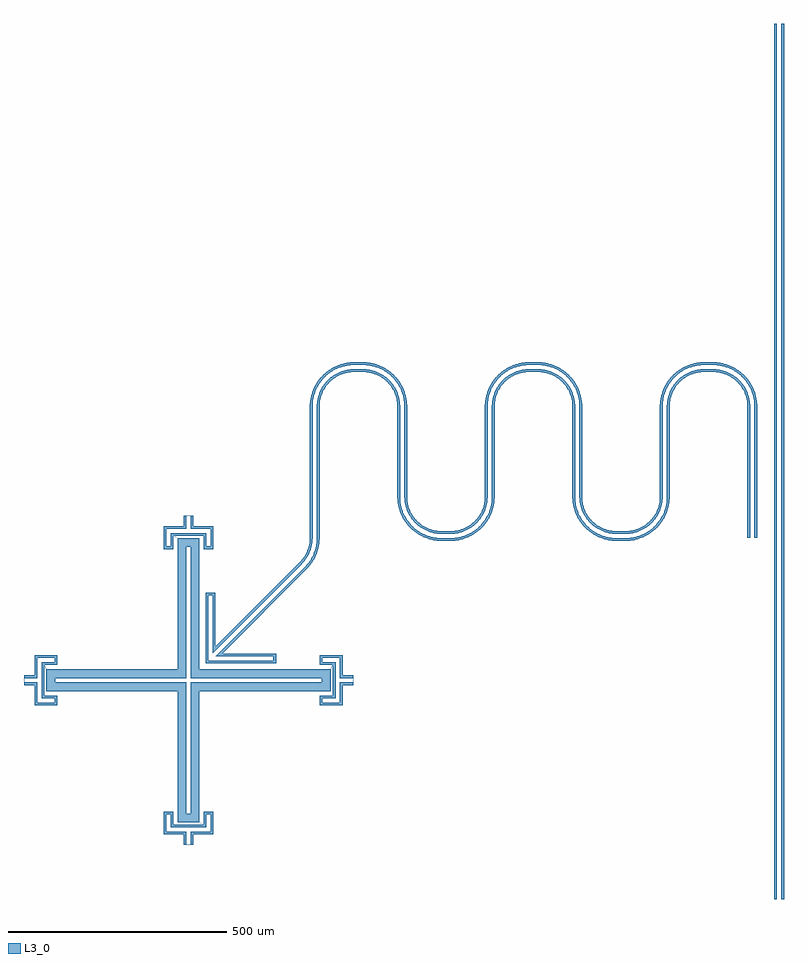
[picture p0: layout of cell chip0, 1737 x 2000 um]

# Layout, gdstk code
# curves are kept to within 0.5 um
import gdstk
lib = gdstk.Library(unit=1e-6, precision=1e-09)
def R(c, l, rs):  # rectangles x0, y0, x1, y1
    for r in rs: c.add(gdstk.rectangle(r[:2], r[2:], *l))
def P(c, l, *ps):  # polygons
    for p in ps: c.add(gdstk.Polygon(p, *l))
L3_0 = (3, 0)

chip0 = lib.new_cell('chip0')
R(chip0, L3_0, [(1339,-500,1345,1500), (1355,-500,1361,1500)])
P(chip0, L3_0, [(-305,-5),(-5,-5),(-5,-305),(5,-305),(5,-5),(305,-5),(305,5),(5,5),(5,305),(-5,305),(-5,5),(-305,5),(-325,25),(-25,25),(-25,325),(25,325),(25,25),(325,25),(325,-25),(25,-25),(25,-325),(-25,-325),(-25,-25),(-325,-25),(-325,25),(-305,5),(-325,25),(-330,35),(-300,35),(-300,57),(-352,57),(-352,11),(-376,11),(-376,-11),(-352,-11),(-352,-57),(-300,-57),(-300,-35),(-330,-35),(-336,-41),(-306,-41),(-306,-51),(-346,-51),(-346,-5),(-376,-5),(-376,5),(-346,5),(-346,51),(-306,51),(-306,41),(-336,41),(-336,-41),(-330,-35),(-330,35),(-325,25),(-305,5),(-325,25),(-25,25),(-25,325),(-35,330),(35,330),(35,300),(57,300),(57,352),(11,352),(11,376),(-11,376),(-11,352),(-57,352),(-57,300),(-35,300),(-41,306),(-51,306),(-51,346),(-5,346),(-5,376),(5,376),(5,346),(51,346),(51,306),(41,306),(41,336),(-41,336),(-41,306),(-35,300),(-35,330),(-25,325),(-25,25),(-325,25),(-305,5),(-325,25),(-25,25),(-25,325),(25,325),(25,25),(325,25),(330,35),(330,-35),(300,-35),(300,-57),(352,-57),(352,-11),(376,-11),(376,11),(352,11),(352,57),(300,57),(300,35),(306,41),(306,51),(346,51),(346,5),(376,5),(376,-5),(346,-5),(346,-51),(306,-51),(306,-41),(336,-41),(336,41),(306,41),(300,35),(330,35),(325,25),(25,25),(25,325),(-25,325),(-25,25),(-325,25),(-305,5),(-325,25),(-25,25),(-25,325),(25,325),(25,25),(325,25),(325,-25),(25,-25),(25,-325),(35,-330),(-35,-330),(-35,-300),(-57,-300),(-57,-352),(-11,-352),(-11,-376),(11,-376),(11,-352),(57,-352),(57,-300),(35,-300),(41,-306),(51,-306),(51,-346),(5,-346),(5,-376),(-5,-376),(-5,-346),(-51,-346),(-51,-306),(-41,-306),(-41,-336),(41,-336),(41,-306),(35,-300),(35,-330),(25,-325),(25,-25),(325,-25),(325,25),(25,25),(25,325),(-25,325),(-25,25),(-325,25),(-305,5)],
  [(200,61),(76.556,61),(271.885,256.385),(284.012,272.036),(292.852,289.753),(297.552,306.068),(299.453,322.939),(299.492,625.772),(300.949,640.874),(300.949,660.567),(295.46,643.956),(293.532,628.39),(293.452,323.009),(291.53,306.561),(286.78,290.697),(279.349,275.899),(267.593,260.579),(62.072,55),(194,55),(194,45),(45,45),(45,194),(55,194),(55,62.072),(258.597,265.668),(266.956,275.395),(273.756,286.27),(280.37,302.946),(282.525,312.982),(283.454,323.204),(283.653,631.296),(285.455,644.983),(289.221,658.264),(294.873,670.859),(300.949,680.644),(300.949,690.477),(291.499,677.088),(285.18,664.423),(280.024,648.247),(277.849,634.261),(277.453,323.29),(276.52,313.413),(274.356,303.731),(267.721,287.713),(260.915,277.352),(254.354,269.91),(61,76.556),(61,200),(39,200),(39,39),(200,39)],
  [(302.29,682.502),(311.317,692.947),(321.762,701.974),(335.856,710.667),(348.61,715.95),(361.995,719.329),(378.492,720.772),(406.772,720.41),(425.776,716.769),(425.776,723.01),(406.981,726.415),(378.492,726.772),(361.574,725.345),(347.821,722.002),(329.636,714.17),(313.33,702.94),(300.949,690.477),(300.949,680.644)],
  [(301.473,643.351),(307.315,660.049),(315.18,673.023),(327.282,685.926),(341.951,695.813),(356.014,701.507),(373.43,704.61),(406.078,704.407),(416.071,702.791),(425.776,699.911),(425.776,706.264),(416.676,708.804),(406.335,710.409),(373.259,710.611),(357.759,708.205),(340.604,701.861),(329.381,695.149),(321.228,688.588),(313.943,681.075),(307.636,672.723),(300.949,660.567),(300.949,640.874)],
  [(492.049,663.807),(486.89,674.628),(480.864,684.218),(473.802,693.073),(465.793,701.082),(456.938,708.144),(447.348,714.17),(437.143,719.084),(425.776,723.01),(425.776,716.769),(438.641,711.871),(450.695,705.143),(461.648,696.739),(471.266,686.837),(479.348,675.645),(484.591,665.921),(488.67,655.654),(492.049,642.269)],
  [(492.049,380.233),(486.053,397.707),(483.532,416.853),(483.492,625.772),(481.524,643.956),(478.66,654.022),(473.802,665.166),(467.869,674.883),(461.308,683.036),(453.795,690.321),(445.443,696.628),(436.38,701.861),(425.776,706.264),(425.776,699.911),(437.259,694.606),(445.743,689.084),(453.451,682.522),(461.804,673.023),(470.731,657.75),(476.035,640.874),(477.492,625.772),(477.651,413.953),(480.024,397.141),(485.18,380.965),(492.049,367.397)],
  [(573.43,340.778),(563.39,342.073),(551.208,345.477),(539.725,350.782),(529.236,357.851),(520.01,366.504),(512.283,376.519),(506.253,387.638),(502.076,399.577),(500.141,409.514),(499.492,419.616),(499.452,628.605),(497.551,645.476),(492.049,663.807),(492.049,642.269),(493.492,625.772),(493.492,419.616),(494.136,409.17),(496.059,398.883),(501.272,384.089),(507.636,372.665),(517.469,360.445),(527.268,351.785),(542.965,342.396),(557.759,337.183),(573.43,334.769)],
  [(573.43,324.757),(561.995,326.059),(548.61,329.438),(535.856,334.721),(524.002,341.797),(513.299,350.515),(505.718,358.551),(497.636,369.743),(492.049,380.233),(492.049,367.397),(494.514,363.503),(507.074,348.198),(522.379,335.638),(539.841,326.304),(558.788,320.557),(573.43,318.75)],
  [(601.11,334.656),(614.111,336.063),(629.198,340.356),(640.992,346.004),(651.781,353.394),(661.308,362.352),(669.348,372.665),(675.712,384.089),(680.925,398.883),(681.524,401.432),(681.524,654.012),(678.919,642.69),(677.532,628.605),(677.492,419.616),(676.843,409.514),(674.908,399.577),(669.669,385.339),(664.701,376.519),(660.257,370.36),(649.702,359.462),(637.259,350.782),(625.776,345.477),(611.1,341.629),(601.024,340.657),(573.43,340.778),(573.43,334.769)],
  [(601.325,318.656),(615.41,320.043),(629.163,323.386),(642.314,328.618),(654.605,335.638),(667.879,346.223),(680.864,361.17),(681.524,362.129),(681.524,373.477),(673.011,360.694),(663.685,350.515),(652.982,341.797),(638.641,333.517),(625.738,328.607),(612.261,325.619),(601.255,324.656),(573.43,324.757),(573.43,318.75)],
  [(682.045,403.997),(683.129,411.773),(683.492,419.616),(683.492,625.772),(683.854,634.052),(684.935,642.269),(687.483,653.018),(691.261,663.4),(696.22,673.272),(702.29,682.502),(711.317,692.947),(719.57,700.291),(728.619,706.628),(740.864,713.003),(740.864,719.491),(729.636,714.17),(720.046,708.144),(711.191,701.082),(703.182,693.073),(696.12,684.218),(690.094,674.628),(685.18,664.423),(681.524,654.012),(681.524,401.432)],
  [(682.47,363.503),(689.49,375.794),(693.824,386.258),(697.551,399.912),(699.333,413.953),(699.492,625.772),(700.505,638.38),(704.353,653.056),(712.283,668.869),(718.338,676.982),(725.38,684.254),(733.295,690.566),(740.864,695.224),(740.864,701.986),(733.745,698.04),(725.203,691.994),(717.469,684.943),(710.661,676.996),(701.272,661.299),(697.492,651.54),(694.939,641.391),(693.492,625.772),(693.331,414.092),(692.049,403.119),(689.501,392.37),(685.723,381.988),(681.524,373.477),(681.524,362.129)],
  [(746,715.043),(761.995,719.329),(775.729,720.732),(804.016,720.611),(820.401,718.211),(836.12,713.003),(848.365,706.628),(861.648,696.739),(871.718,686.282),(871.718,695.331),(859.225,706.472),(842.314,716.77),(831.85,721.104),(820.967,724.24),(801.325,726.732),(767.184,726.137),(753.265,723.571),(740.864,719.491),(740.864,713.003)],
  [(871.718,668.917),(861.308,683.036),(849.716,693.603),(834.019,702.992),(819.225,708.205),(801.11,710.732),(770.649,710.409),(755.231,707.527),(740.864,701.986),(740.864,695.224),(756.014,701.507),(770.906,704.407),(801.024,704.731),(818.531,702.188),(828.138,698.998),(837.259,694.606),(851.604,684.254),(863.286,670.969),(871.718,655.418)],
  [(915.52,371.924),(909.658,380.849),(904.353,392.332),(900.949,404.514),(899.654,414.554),(899.492,625.772),(898.5,639.891),(895.545,653.732),(889.49,669.594),(880.864,684.218),(871.718,695.331),(871.718,686.282),(880.764,673.272),(886.78,660.847),(890.931,647.681),(893.13,634.052),(893.492,419.616),(894.136,409.17),(897.492,393.848),(904.88,377.116),(915.52,362.529)],
  [(915.52,348.49),(903.973,360.694),(894.873,374.529),(888.314,389.734),(884.495,405.847),(883.492,419.616),(883.331,631.005),(882.045,641.391),(879.492,651.54),(875.712,661.299),(871.718,668.917),(871.718,655.418),(876.035,640.874),(877.451,628.304),(877.492,419.616),(878.484,405.497),(880.693,394.389),(884.133,383.597),(888.759,373.259),(894.514,363.503),(905.099,350.229),(915.52,340.651)],
  [(1001.11,334.656),(1019.225,337.183),(1036.38,343.527),(1047.348,350.064),(1047.348,357.542),(1032.769,348.439),(1016.071,342.597),(1001.024,340.657),(970.906,340.981),(956.014,343.881),(939.725,350.782),(927.282,359.462),(915.52,371.924),(915.52,362.529),(917.469,360.445),(929.381,350.239),(945.36,341.339),(957.759,337.183),(968.046,335.26)],
  [(1001.325,318.656),(1020.967,321.148),(1037.143,326.304),(1047.348,331.218),(1047.348,338.153),(1030.984,330.345),(1014.989,326.059),(1001.255,324.656),(970.212,324.977),(953.904,327.853),(940.864,332.385),(928.619,338.76),(915.52,348.49),(915.52,340.651),(929.636,331.218),(945.134,324.284),(956.017,321.148),(967.184,319.251)],
  [(1047.603,350.239),(1061.308,362.352),(1070.76,374.869),(1077.752,388.91),(1082.486,406.578),(1083.492,419.616),(1083.653,631.296),(1084.935,642.269),(1088.314,655.654),(1093.597,668.408),(1099.333,678.287),(1099.333,688.494),(1090.094,674.628),(1084.133,661.791),(1080.024,648.247),(1077.849,634.261),(1077.492,419.616),(1076.479,407.008),(1073.467,394.722),(1068.533,383.075),(1058.646,368.406),(1047.348,357.542)],
  [(1049.808,332.623),(1059.225,338.916),(1067.879,346.223),(1075.66,354.454),(1082.47,363.503),(1088.225,373.259),(1092.851,383.597),(1096.291,394.389),(1098.5,405.497),(1099.333,413.953),(1099.333,656.727),(1095.46,643.956),(1093.532,628.39),(1093.492,419.616),(1092.489,405.847),(1087.763,387.124),(1080.764,372.116),(1074.694,362.886),(1065.667,352.441),(1057.414,345.096),(1047.348,338.153),(1047.348,331.218)],
  [(1099.527,678.573),(1109.392,690.965),(1119.57,700.291),(1130.992,708.044),(1143.417,714.06),(1156.583,718.211),(1172.968,720.611),(1201.255,720.732),(1215.41,719.248),(1215.41,725.345),(1201.325,726.732),(1170.003,726.415),(1156.017,724.24),(1139.841,719.084),(1122.379,709.75),(1107.074,697.19),(1099.333,688.494)],
  [(1099.452,416.783),(1099.533,628.304),(1099.857,633.358),(1100.949,640.874),(1102.757,648.25),(1105.266,655.418),(1108.451,662.313),(1112.283,668.869),(1116.727,675.028),(1121.742,680.731),(1125.38,684.254),(1131.241,689.084),(1137.539,693.328),(1144.215,696.949),(1151.208,699.911),(1156.014,701.507),(1163.39,703.315),(1170.906,704.407),(1178.492,704.772),(1201.024,704.731),(1208.594,704.123),(1215.41,702.931),(1215.41,709.061),(1208.938,710.128),(1201.11,710.732),(1178.492,710.772),(1170.649,710.409),(1162.873,709.325),(1157.759,708.205),(1150.242,705.94),(1142.965,702.992),(1135.992,699.384),(1129.381,695.149),(1123.189,690.321),(1117.469,684.943),(1112.27,679.061),(1107.636,672.723),(1103.606,665.985),(1099.333,656.727)],
  [(1299.492,625.772),(1298.065,642.69),(1292.851,661.791),(1285.485,677.088),(1275.66,690.934),(1263.654,702.94),(1247.348,714.17),(1231.85,721.104),(1215.41,725.345),(1215.41,719.248),(1230.984,715.043),(1243.579,709.391),(1255.222,701.974),(1267.592,690.965),(1276.311,680.262),(1283.387,668.408),(1287.763,658.264),(1291.529,644.983),(1293.492,625.772),(1293.492,325.772),(1299.492,325.772)],
  [(1283.492,625.772),(1282.045,641.391),(1278.66,654.022),(1273.378,665.985),(1264.714,679.061),(1255.756,688.588),(1243.239,698.04),(1229.198,705.032),(1215.41,709.061),(1215.41,702.931),(1228.138,698.998),(1239.445,693.328),(1249.702,685.926),(1258.646,676.982),(1264.701,668.869),(1269.669,660.049),(1274.227,648.25),(1276.479,638.38),(1277.492,625.772),(1277.492,325.772),(1283.492,325.772)])

lib.write_gds('chip0.gds')
